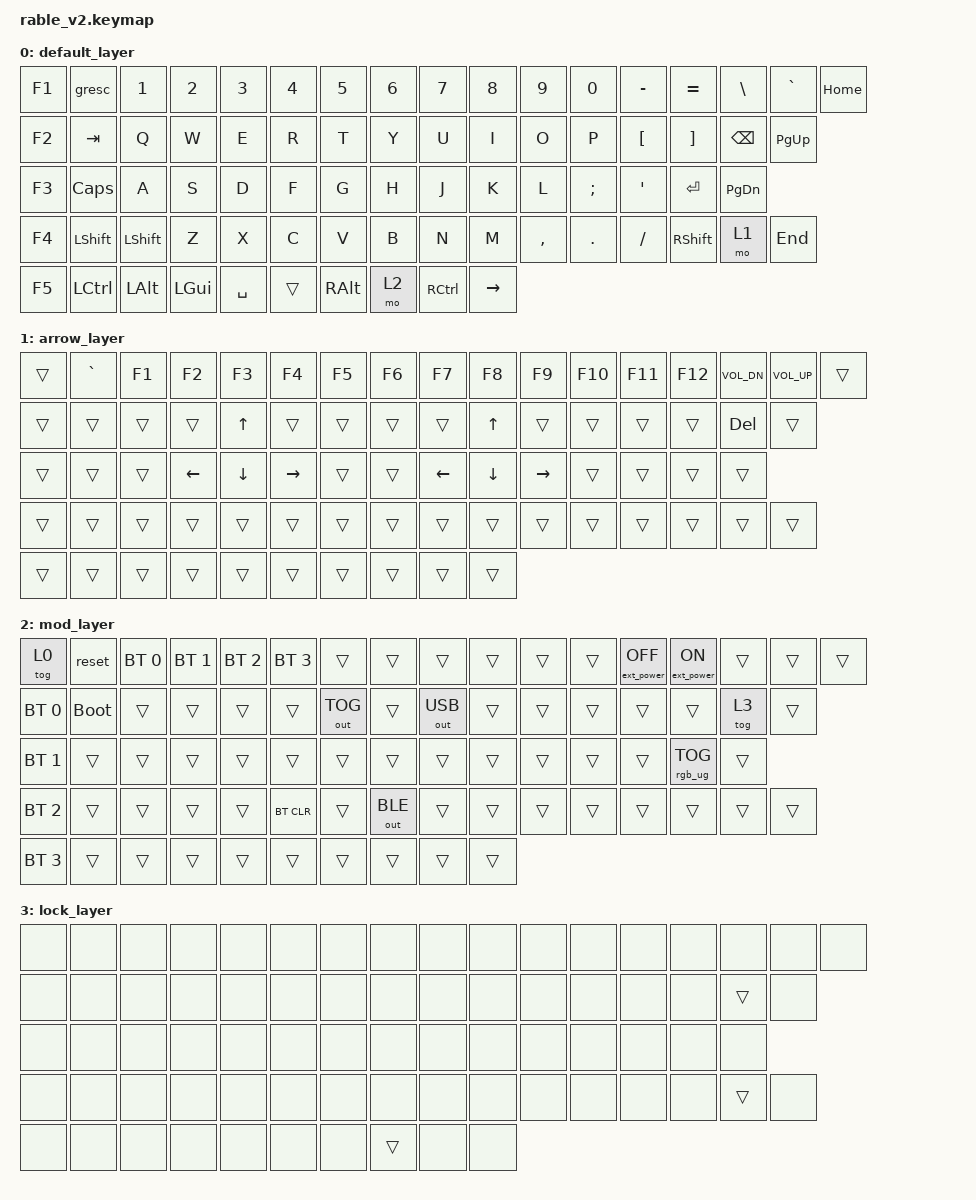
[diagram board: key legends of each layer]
/*
 * Copyright (c) 2021 Nick Winans
 *
 * SPDX-License-Identifier: MIT
 */

#include <behaviors.dtsi>
#include <dt-bindings/zmk/bt.h>
#include <dt-bindings/zmk/ext_power.h>
#include <dt-bindings/zmk/keys.h>
#include <dt-bindings/zmk/outputs.h>
#include <dt-bindings/zmk/rgb.h>

/ {
    keymap {
        compatible = "zmk,keymap";

        default_layer {
            bindings = <
&kp F1  &gresc     &kp N1     &kp N2    &kp N3     &kp N4  &kp N5    &kp N6  &kp N7     &kp N8     &kp N9     &kp N0    &kp MINUS  &kp EQUAL  &kp BACKSLASH  &kp GRAVE  &kp HOME
&kp F2  &kp TAB    &kp Q      &kp W     &kp E      &kp R   &kp T     &kp Y   &kp U      &kp I      &kp O      &kp P     &kp LBKT   &kp RBKT   &kp BACKSPACE  &kp PG_UP
&kp F3  &kp CLCK   &kp A      &kp S     &kp D      &kp F   &kp G     &kp H   &kp J      &kp K      &kp L      &kp SEMI  &kp SQT    &kp RET    &kp PG_DN
&kp F4  &kp LSHFT  &kp LSHFT  &kp Z     &kp X      &kp C   &kp V     &kp B   &kp N      &kp M      &kp COMMA  &kp DOT   &kp FSLH   &kp RSHFT  &mo 1          &kp END
&kp F5  &kp LCTRL  &kp LALT   &kp LGUI  &kp SPACE  &trans  &kp RALT  &mo 2   &kp RCTRL  &kp RIGHT
            >;
        };

        arrow_layer {
            bindings = <
&trans  &kp GRAVE  &kp F1  &kp F2    &kp F3    &kp F4     &kp F5  &kp F6  &kp F7    &kp F8    &kp F9     &kp F10  &kp F11  &kp F12  &kp K_VOL_DN  &kp K_VOL_UP  &trans
&trans  &trans     &trans  &trans    &kp UP    &trans     &trans  &trans  &trans    &kp UP    &trans     &trans   &trans   &trans   &kp DEL       &trans
&trans  &trans     &trans  &kp LEFT  &kp DOWN  &kp RIGHT  &trans  &trans  &kp LEFT  &kp DOWN  &kp RIGHT  &trans   &trans   &trans   &trans
&trans  &trans     &trans  &trans    &trans    &trans     &trans  &trans  &trans    &trans    &trans     &trans   &trans   &trans   &trans        &trans
&trans  &trans     &trans  &trans    &trans    &trans     &trans  &trans  &trans    &trans
            >;
        };

        mod_layer {
            bindings = <
&tog 0        &reset       &bt BT_SEL 0  &bt BT_SEL 1  &bt BT_SEL 2  &bt BT_SEL 3  &trans        &trans        &trans        &trans  &trans  &trans  &ext_power EP_OFF  &ext_power EP_ON  &trans  &trans  &trans
&bt BT_SEL 0  &bootloader  &trans        &trans        &trans        &trans        &out OUT_TOG  &trans        &out OUT_USB  &trans  &trans  &trans  &trans             &trans            &tog 3  &trans
&bt BT_SEL 1  &trans       &trans        &trans        &trans        &trans        &trans        &trans        &trans        &trans  &trans  &trans  &trans             &rgb_ug RGB_TOG   &trans
&bt BT_SEL 2  &trans       &trans        &trans        &trans        &bt BT_CLR    &trans        &out OUT_BLE  &trans        &trans  &trans  &trans  &trans             &trans            &trans  &trans
&bt BT_SEL 3  &trans       &trans        &trans        &trans        &trans        &trans        &trans        &trans        &trans
            >;
        };

        lock_layer {
            bindings = <
&none  &none  &none  &none  &none  &none  &none  &none   &none  &none  &none  &none  &none  &none  &none   &none  &none
&none  &none  &none  &none  &none  &none  &none  &none   &none  &none  &none  &none  &none  &none  &trans  &none
&none  &none  &none  &none  &none  &none  &none  &none   &none  &none  &none  &none  &none  &none  &none
&none  &none  &none  &none  &none  &none  &none  &none   &none  &none  &none  &none  &none  &none  &trans  &none
&none  &none  &none  &none  &none  &none  &none  &trans  &none  &none
            >;
        };
    };
};
